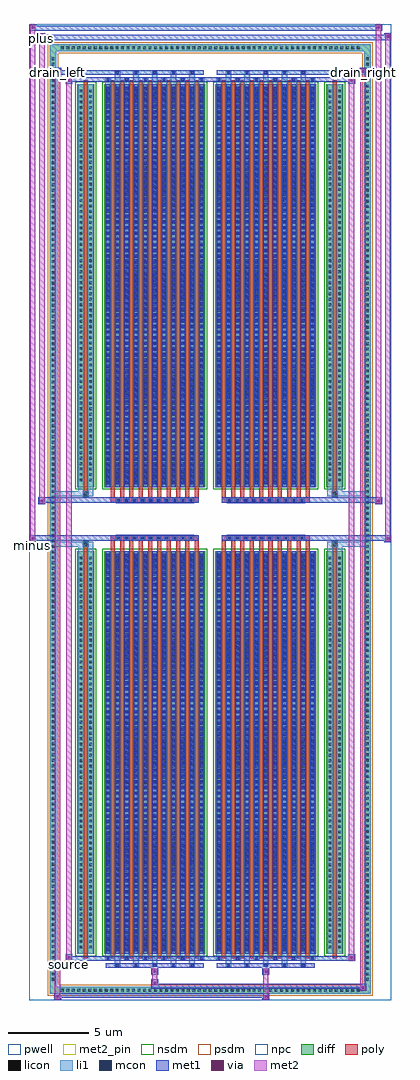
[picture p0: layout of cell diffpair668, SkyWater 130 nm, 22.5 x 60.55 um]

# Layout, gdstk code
import gdstk
lib = gdstk.Library(unit=1e-6, precision=5e-09)
def R(c, l, rs):  # rectangles x0, y0, x1, y1
    for r in rs: c.add(gdstk.rectangle(r[:2], r[2:], *l))
def A(c, l, x, y, w, h, nx, ny, dx, dy):  # array of equal rectangles
    R(c, l, [(x+i*dx, y+j*dy, x+i*dx+w, y+j*dy+h) for i in range(nx) for j in range(ny)])
def P(c, l, *ps):  # polygons
    for p in ps: c.add(gdstk.Polygon(p, *l))
pwell = (64, 44)
diff = (65, 20)
poly = (66, 20)
licon = (66, 44)
li1 = (67, 20)
mcon = (67, 44)
met1 = (68, 20)
via = (68, 44)
met2_pin = (69, 16)
met2 = (69, 20)
nsdm = (93, 44)
psdm = (94, 20)
npc = (95, 20)

diffpair668 = lib.new_cell('diffpair668')
R(diffpair668, pwell, [(-11.23,-29.84,11.23,30.71), (-8.55,-28.03,-0.01,-0.805), (0.01,-28.03,8.55,-0.805), (-8.55,0.805,-0.01,28.03), (0.01,0.805,8.55,28.03)])
A(diffpair668, diff, -9.385, -29.44, 0.41, 0.41, 55, 2, 0.34, 58.47)
A(diffpair668, diff, -9.96, -28.765, 0.41, 0.41, 1, 169, 0, 0.34)
A(diffpair668, diff, 9.55, -28.765, 0.41, 0.41, 1, 169, 0, 0.34)
R(diffpair668, diff, [(-9.385,-29.44,9.385,-29.03), (-9.96,-28.765,-9.55,28.765), (9.55,-28.765,9.96,28.765), (-8.24,-26.985,-7.21,-1.985), (-6.57,-26.985,-0.32,-1.985), (0.32,-26.985,6.57,-1.985), (7.21,-26.985,8.24,-1.985), (-8.24,1.985,-7.21,26.985), (-6.57,1.985,-0.32,26.985), (0.32,1.985,6.57,26.985), (7.21,1.985,8.24,26.985), (-9.385,29.03,9.385,29.44)])
P(diffpair668, diff, [(9.96,29.44),(-9.96,29.44),(-9.96,-29.03),(-9.55,-29.03),(-9.55,29.03),(9.55,29.03),(9.55,-29.03),(-9.55,-29.03),(-9.96,-29.03),(-9.96,-29.44),(9.96,-29.44)])
A(diffpair668, poly, -6.18, -27.235, 0.25, 25.5, 10, 2, 0.58, 28.97)
A(diffpair668, poly, 0.71, -27.235, 0.25, 25.5, 10, 2, 0.58, 28.97)
A(diffpair668, poly, -6.18, -1.735, 0.25, 0.4, 10, 2, 0.58, 3.07)
A(diffpair668, poly, 0.71, -1.735, 0.25, 0.4, 10, 2, 0.58, 3.07)
A(diffpair668, poly, -5.86, -1.335, 0.33, 0.33, 10, 2, 0.5, 2.34)
A(diffpair668, poly, 1.03, -1.335, 0.33, 0.33, 10, 2, 0.5, 2.34)
R(diffpair668, poly, [(-7.85,-27.235,-7.6,-1.735), (7.6,-27.235,7.85,-1.735), (-7.89,-1.735,-7.56,-1.405), (-7.89,-1.735,-7.56,-1.405), (7.56,-1.735,7.89,-1.405), (7.56,-1.735,7.89,-1.405), (-6.18,-1.335,-0.71,-1.005), (0.71,-1.335,6.18,-1.005), (-6.18,1.005,-0.71,1.335), (0.71,1.005,6.18,1.335), (-7.89,1.405,-7.56,1.735), (-7.89,1.405,-7.56,1.735), (7.56,1.405,7.89,1.735), (7.56,1.405,7.89,1.735), (-7.85,1.735,-7.6,27.235), (7.6,1.735,7.85,27.235)])
A(diffpair668, licon, -9.265, -29.32, 0.17, 0.17, 55, 2, 0.34, 58.47)
A(diffpair668, licon, -9.84, -28.645, 0.17, 0.17, 1, 169, 0, 0.34)
A(diffpair668, licon, 9.67, -28.645, 0.17, 0.17, 1, 169, 0, 0.34)
A(diffpair668, licon, -8.1, -26.64, 0.17, 0.17, 1, 72, 0, 0.34)
A(diffpair668, licon, -7.52, -26.64, 0.17, 0.17, 1, 72, 0, 0.34)
A(diffpair668, licon, -6.43, -26.64, 0.17, 0.17, 11, 72, 0.58, 0.34)
A(diffpair668, licon, 0.46, -26.64, 0.17, 0.17, 11, 72, 0.58, 0.34)
A(diffpair668, licon, 7.35, -26.64, 0.17, 0.17, 1, 72, 0, 0.34)
A(diffpair668, licon, 7.93, -26.64, 0.17, 0.17, 1, 72, 0, 0.34)
A(diffpair668, licon, -5.78, -1.255, 0.17, 0.17, 10, 2, 0.5, 2.34)
A(diffpair668, licon, 1.11, -1.255, 0.17, 0.17, 10, 2, 0.5, 2.34)
A(diffpair668, licon, -8.1, 2.33, 0.17, 0.17, 1, 72, 0, 0.34)
A(diffpair668, licon, -7.52, 2.33, 0.17, 0.17, 1, 72, 0, 0.34)
A(diffpair668, licon, -6.43, 2.33, 0.17, 0.17, 11, 72, 0.58, 0.34)
A(diffpair668, licon, 0.46, 2.33, 0.17, 0.17, 11, 72, 0.58, 0.34)
A(diffpair668, licon, 7.35, 2.33, 0.17, 0.17, 1, 72, 0, 0.34)
A(diffpair668, licon, 7.93, 2.33, 0.17, 0.17, 1, 72, 0, 0.34)
R(diffpair668, licon, [(-7.81,-1.655,-7.64,-1.485), (7.64,-1.655,7.81,-1.485), (-7.81,1.485,-7.64,1.655), (7.64,1.485,7.81,1.655)])
A(diffpair668, li1, -9.345, -29.4, 0.33, 0.33, 55, 2, 0.34, 58.47)
A(diffpair668, li1, -9.92, -28.725, 0.33, 0.33, 1, 169, 0, 0.34)
A(diffpair668, li1, 9.59, -28.725, 0.33, 0.33, 1, 169, 0, 0.34)
A(diffpair668, li1, -5.93, -27.79, 0.33, 0.805, 5, 2, 1.16, 54.775)
A(diffpair668, li1, -5.85, -27.79, 0.17, 0.17, 5, 2, 1.16, 55.41)
A(diffpair668, li1, 0.96, -27.79, 0.33, 0.805, 5, 2, 1.16, 54.775)
A(diffpair668, li1, 1.04, -27.79, 0.17, 0.17, 5, 2, 1.16, 55.41)
A(diffpair668, li1, -6.51, -27.36, 0.33, 0.375, 6, 2, 1.16, 54.345)
A(diffpair668, li1, -6.43, -27.36, 0.17, 0.17, 6, 2, 1.16, 54.55)
A(diffpair668, li1, 0.38, -27.36, 0.33, 0.375, 6, 2, 1.16, 54.345)
A(diffpair668, li1, 0.46, -27.36, 0.17, 0.17, 6, 2, 1.16, 54.55)
A(diffpair668, li1, -6.51, -26.985, 0.33, 25, 11, 2, 0.58, 28.97)
A(diffpair668, li1, 0.38, -26.985, 0.33, 25, 11, 2, 0.58, 28.97)
A(diffpair668, li1, -6.43, -26.81, 0.17, 0.17, 11, 69, 0.58, 0.36)
A(diffpair668, li1, -6.43, -26.81, 0.17, 24.65, 11, 2, 0.58, 28.97)
A(diffpair668, li1, 0.46, -26.81, 0.17, 0.17, 11, 69, 0.58, 0.36)
A(diffpair668, li1, 0.46, -26.81, 0.17, 24.65, 11, 2, 0.58, 28.97)
A(diffpair668, li1, -8.18, -26.72, 0.33, 0.33, 1, 72, 0, 0.34)
A(diffpair668, li1, -7.6, -26.72, 0.33, 0.33, 1, 72, 0, 0.34)
A(diffpair668, li1, -6.51, -26.72, 0.33, 0.33, 11, 72, 0.58, 0.34)
A(diffpair668, li1, 0.38, -26.72, 0.33, 0.33, 11, 72, 0.58, 0.34)
A(diffpair668, li1, 7.27, -26.72, 0.33, 0.33, 1, 72, 0, 0.34)
A(diffpair668, li1, 7.85, -26.72, 0.33, 0.33, 1, 72, 0, 0.34)
A(diffpair668, li1, -5.86, -1.335, 0.33, 0.33, 10, 2, 0.5, 2.34)
A(diffpair668, li1, 1.03, -1.335, 0.33, 0.33, 10, 2, 0.5, 2.34)
A(diffpair668, li1, -6.43, 2.16, 0.17, 0.17, 11, 69, 0.58, 0.36)
A(diffpair668, li1, 0.46, 2.16, 0.17, 0.17, 11, 69, 0.58, 0.36)
A(diffpair668, li1, -8.18, 2.25, 0.33, 0.33, 1, 72, 0, 0.34)
A(diffpair668, li1, -7.6, 2.25, 0.33, 0.33, 1, 72, 0, 0.34)
A(diffpair668, li1, -6.51, 2.25, 0.33, 0.33, 11, 72, 0.58, 0.34)
A(diffpair668, li1, 0.38, 2.25, 0.33, 0.33, 11, 72, 0.58, 0.34)
A(diffpair668, li1, 7.27, 2.25, 0.33, 0.33, 1, 72, 0, 0.34)
A(diffpair668, li1, 7.85, 2.25, 0.33, 0.33, 1, 72, 0, 0.34)
R(diffpair668, li1, [(-9.96,-29.44,-9.55,-29.03), (-9.96,-29.44,-9.55,-29.03), (-9.55,-29.44,9.55,-29.03), (9.55,-29.44,9.96,-29.03), (9.55,-29.44,9.96,-29.03), (-9.96,-29.03,-9.55,29.03), (9.55,-29.03,9.96,29.03), (-8.18,-26.985,-7.85,-1.985), (-7.6,-26.985,-7.27,-1.985), (7.27,-26.985,7.6,-1.985), (7.85,-26.985,8.18,-1.985), (-8.18,-1.985,-7.85,-1.405), (-7.6,-1.985,-7.27,-1.405), (7.27,-1.985,7.6,-1.405), (7.85,-1.985,8.18,-1.405), (-9.96,-1.735,-7.89,-1.405), (-8.18,-1.735,-7.89,-1.405), (-7.89,-1.735,-7.56,-1.405), (-7.56,-1.735,-7.27,-1.405), (7.27,-1.735,7.56,-1.405), (7.56,-1.735,7.89,-1.405), (7.56,-1.735,9.96,-1.405), (7.89,-1.735,8.18,-1.405), (-9.96,1.405,-7.89,1.735), (-8.18,1.405,-7.89,1.735), (-8.18,1.405,-7.85,1.985), (-7.89,1.405,-7.56,1.735), (-7.6,1.405,-7.27,1.985), (-7.56,1.405,-7.27,1.735), (7.27,1.405,7.56,1.735), (7.27,1.405,7.6,1.985), (7.56,1.405,7.89,1.735), (7.56,1.405,9.96,1.735), (7.85,1.405,8.18,1.985), (7.89,1.405,8.18,1.735), (-8.18,1.985,-7.85,26.985), (-7.6,1.985,-7.27,26.985), (7.27,1.985,7.6,26.985), (7.85,1.985,8.18,26.985), (-9.96,29.03,-9.55,29.44), (-9.96,29.03,-9.55,29.44), (-9.55,29.03,9.55,29.44), (9.55,29.03,9.96,29.44), (9.55,29.03,9.96,29.44)])
A(diffpair668, mcon, -5.85, -27.79, 0.17, 0.17, 5, 2, 1.16, 55.41)
A(diffpair668, mcon, 1.04, -27.79, 0.17, 0.17, 5, 2, 1.16, 55.41)
A(diffpair668, mcon, -6.43, -27.36, 0.17, 0.17, 6, 2, 1.16, 54.55)
A(diffpair668, mcon, 0.46, -27.36, 0.17, 0.17, 6, 2, 1.16, 54.55)
A(diffpair668, mcon, -6.43, -26.81, 0.17, 0.17, 11, 69, 0.58, 0.36)
A(diffpair668, mcon, 0.46, -26.81, 0.17, 0.17, 11, 69, 0.58, 0.36)
A(diffpair668, mcon, -5.78, -1.255, 0.17, 0.17, 10, 2, 0.5, 2.34)
A(diffpair668, mcon, 1.11, -1.255, 0.17, 0.17, 10, 2, 0.5, 2.34)
A(diffpair668, mcon, -6.43, 2.16, 0.17, 0.17, 11, 69, 0.58, 0.36)
A(diffpair668, mcon, 0.46, 2.16, 0.17, 0.17, 11, 69, 0.58, 0.36)
A(diffpair668, met1, -5.91, -27.85, 0.29, 0.29, 5, 2, 1.16, 55.41)
A(diffpair668, met1, 0.98, -27.85, 0.29, 0.29, 5, 2, 1.16, 55.41)
A(diffpair668, met1, -6.49, -27.42, 0.29, 0.29, 6, 2, 1.16, 54.55)
A(diffpair668, met1, 0.4, -27.42, 0.29, 0.29, 6, 2, 1.16, 54.55)
A(diffpair668, met1, -6.49, -26.985, 0.29, 25, 11, 2, 0.58, 28.97)
A(diffpair668, met1, 0.4, -26.985, 0.29, 25, 11, 2, 0.58, 28.97)
A(diffpair668, met1, -6.49, -26.87, 0.29, 0.29, 11, 69, 0.58, 0.36)
A(diffpair668, met1, 0.4, -26.87, 0.29, 0.29, 11, 69, 0.58, 0.36)
A(diffpair668, met1, -5.84, -1.315, 0.29, 0.29, 10, 2, 0.5, 2.34)
A(diffpair668, met1, 1.05, -1.315, 0.29, 0.29, 10, 2, 0.5, 2.34)
A(diffpair668, met1, -6.49, 2.1, 0.29, 0.29, 11, 69, 0.58, 0.36)
A(diffpair668, met1, 0.4, 2.1, 0.29, 0.29, 11, 69, 0.58, 0.36)
R(diffpair668, met1, [(-9.69,-29.84,-9.26,-29.41), (3.23,-29.84,3.66,-29.41), (-9.69,-29.7,3.66,-29.41), (9.26,-29.27,9.69,-28.84), (-3.66,-29.13,9.69,-28.84), (-3.66,-28.99,-3.23,-28.56), (-3.66,-28.28,-3.23,-27.85), (3.23,-28.28,3.66,-27.85), (-6.49,-27.85,-0.4,-27.56), (0.4,-27.85,6.49,-27.56), (-8.98,-27.42,-8.55,-26.99), (-8.98,-27.42,-6.49,-27.13), (-6.49,-27.42,-0.4,-27.13), (-0.4,-27.42,0.4,-27.13), (0.4,-27.42,6.49,-27.13), (6.49,-27.42,8.98,-27.13), (8.55,-27.42,8.98,-26.99), (-11.23,-1.435,-10.8,-1.005), (10.8,-1.435,11.23,-1.005), (-11.23,-1.335,-0.71,-1.005), (-6.18,-1.335,-0.71,-1.005), (0.71,-1.335,6.18,-1.005), (0.71,-1.335,11.23,-1.005), (-10.66,0.905,-10.23,1.335), (10.23,0.905,10.66,1.335), (-10.66,1.005,-6.18,1.335), (-6.18,1.005,-0.71,1.335), (0.71,1.005,6.18,1.335), (6.18,1.005,10.66,1.335), (-8.98,26.99,-8.55,27.42), (8.55,26.99,8.98,27.42), (-8.98,27.13,-6.49,27.42), (-6.49,27.13,-0.4,27.42), (-0.4,27.13,0.4,27.42), (0.4,27.13,6.49,27.42), (6.49,27.13,8.98,27.42), (-9.69,27.56,-9.26,27.99), (-9.69,27.56,-6.49,27.85), (-6.49,27.56,-0.4,27.85), (0.4,27.56,6.49,27.85), (6.49,27.56,9.69,27.85), (9.26,27.56,9.69,27.99), (-10.66,29.71,-10.23,30.14), (-10.66,29.71,-8.55,30.04), (-8.55,29.71,8.55,30.04), (8.55,29.71,11.23,30.04), (10.8,29.71,11.23,30.14), (-11.23,30.28,-10.8,30.71), (-11.23,30.28,-8.55,30.61), (-8.55,30.28,8.55,30.61), (8.55,30.28,10.66,30.61), (10.23,30.28,10.66,30.71)])
R(diffpair668, via, [(-9.55,-29.7,-9.4,-29.55), (3.37,-29.7,3.52,-29.55), (9.4,-29.13,9.55,-28.98), (-3.52,-28.85,-3.37,-28.7), (-3.52,-28.14,-3.37,-27.99), (3.37,-28.14,3.52,-27.99), (-8.84,-27.28,-8.69,-27.13), (8.69,-27.28,8.84,-27.13), (-11.09,-1.295,-10.94,-1.145), (10.94,-1.295,11.09,-1.145), (-10.52,1.045,-10.37,1.195), (10.37,1.045,10.52,1.195), (-8.84,27.13,-8.69,27.28), (8.69,27.13,8.84,27.28), (-9.55,27.7,-9.4,27.85), (9.4,27.7,9.55,27.85), (-10.52,29.85,-10.37,30), (10.94,29.85,11.09,30), (-11.09,30.42,-10.94,30.57), (10.37,30.42,10.52,30.57)])
R(diffpair668, met2_pin, [(-9.015,-27.87,-8.515,-27.37), (-11.265,-1.885,-10.765,-1.385), (-9.725,27.44,-9.225,27.94), (9.225,27.44,9.725,27.94), (-10.695,29.59,-10.195,30.09)])
R(diffpair668, met2, [(-9.64,-29.79,-9.31,-29.46), (-9.64,-29.79,-9.31,27.94), (3.28,-29.79,3.61,-29.46), (3.28,-29.46,3.61,-28.23), (9.31,-29.22,9.64,-28.89), (9.31,-29.22,9.64,27.94), (-3.61,-28.94,-3.28,-28.61), (-3.61,-28.61,-3.28,-28.23), (-3.61,-28.23,-3.28,-27.9), (3.28,-28.23,3.61,-27.9), (-8.93,-27.37,-8.6,-27.04), (-8.93,-27.37,-8.6,27.37), (8.6,-27.37,8.93,-27.04), (8.6,-27.37,8.93,27.37), (-11.18,-1.385,-10.85,-1.055), (-11.18,-1.385,-10.85,30.66), (10.85,-1.385,11.18,-1.055), (10.85,-1.385,11.18,30.09), (-10.61,0.955,-10.28,1.285), (-10.61,0.955,-10.28,30.09), (10.28,0.955,10.61,1.285), (10.28,0.955,10.61,30.66), (-8.93,27.04,-8.6,27.37), (8.6,27.04,8.93,27.37), (-9.64,27.61,-9.31,27.94), (9.31,27.61,9.64,27.94), (-10.61,29.76,-10.28,30.09), (10.85,29.76,11.18,30.09), (-11.18,30.33,-10.85,30.66), (10.28,30.33,10.61,30.66)])
P(diffpair668, met2, [(11.18,-1.385),(11.18,-1.385),(11.18,-1.055),(11.18,-1.055)],
  [(11.18,29.76),(11.18,29.76),(11.18,30.09),(11.18,30.09)],
  [(-10.85,-1.385),(-10.85,-1.385),(-10.85,-1.055),(-10.85,-1.055)],
  [(-10.85,30.33),(-10.85,30.33),(-10.85,30.66),(-10.85,30.66)],
  [(10.61,0.955),(10.61,0.955),(10.61,1.285),(10.61,1.285)],
  [(10.61,30.33),(10.61,30.33),(10.61,30.66),(10.61,30.66)],
  [(-10.28,0.955),(-10.28,0.955),(-10.28,1.285),(-10.28,1.285)],
  [(-10.28,29.76),(-10.28,29.76),(-10.28,30.09),(-10.28,30.09)],
  [(-9.31,-29.79),(-9.31,-29.79),(-9.31,-29.46),(-9.31,-29.46)],
  [(-9.31,27.61),(-9.31,27.61),(-9.31,27.94),(-9.31,27.94)],
  [(9.64,-29.22),(9.64,-29.22),(9.64,-28.89),(9.64,-28.89)],
  [(9.64,27.61),(9.64,27.61),(9.64,27.94),(9.64,27.94)],
  [(-8.6,-27.37),(-8.6,-27.37),(-8.6,-27.04),(-8.6,-27.04)],
  [(-8.6,27.04),(-8.6,27.04),(-8.6,27.37),(-8.6,27.37)],
  [(8.93,-27.37),(8.93,-27.37),(8.93,-27.04),(8.93,-27.04)],
  [(8.93,27.04),(8.93,27.04),(8.93,27.37),(8.93,27.37)])
R(diffpair668, nsdm, [(-8.37,-27.115,-7.08,-1.855), (-6.7,-27.115,-0.19,-1.855), (0.19,-27.115,6.7,-1.855), (7.08,-27.115,8.37,-1.855), (-8.37,1.855,-7.08,27.115), (-6.7,1.855,-0.19,27.115), (0.19,1.855,6.7,27.115), (7.08,1.855,8.37,27.115)])
P(diffpair668, psdm, [(10.09,29.57),(-10.09,29.57),(-10.09,-28.9),(-9.42,-28.9),(-9.42,28.9),(9.42,28.9),(9.42,-28.9),(-9.42,-28.9),(-10.09,-28.9),(-10.09,-29.57),(10.09,-29.57)])
A(diffpair668, npc, -5.88, -1.355, 0.37, 0.37, 10, 2, 0.5, 2.34)
A(diffpair668, npc, 1.01, -1.355, 0.37, 0.37, 10, 2, 0.5, 2.34)
R(diffpair668, npc, [(-7.91,-1.755,-7.54,-1.385), (7.54,-1.755,7.91,-1.385), (-5.88,-1.355,-5.01,-0.985), (-5.88,-1.355,-5.01,-0.985), (-5.38,-1.355,-4.51,-0.985), (-5.38,-1.355,-4.51,-0.985), (-4.88,-1.355,-4.01,-0.985), (-4.88,-1.355,-4.01,-0.985), (-4.38,-1.355,-3.51,-0.985), (-4.38,-1.355,-3.51,-0.985), (-3.88,-1.355,-3.01,-0.985), (-3.88,-1.355,-3.01,-0.985), (-3.38,-1.355,-2.51,-0.985), (-3.38,-1.355,-2.51,-0.985), (-2.88,-1.355,-2.01,-0.985), (-2.88,-1.355,-2.01,-0.985), (-2.38,-1.355,-1.51,-0.985), (-2.38,-1.355,-1.51,-0.985), (-1.88,-1.355,-1.01,-0.985), (-1.88,-1.355,-1.01,-0.985), (1.01,-1.355,1.88,-0.985), (1.01,-1.355,1.88,-0.985), (1.51,-1.355,2.38,-0.985), (1.51,-1.355,2.38,-0.985), (2.01,-1.355,2.88,-0.985), (2.01,-1.355,2.88,-0.985), (2.51,-1.355,3.38,-0.985), (2.51,-1.355,3.38,-0.985), (3.01,-1.355,3.88,-0.985), (3.01,-1.355,3.88,-0.985), (3.51,-1.355,4.38,-0.985), (3.51,-1.355,4.38,-0.985), (4.01,-1.355,4.88,-0.985), (4.01,-1.355,4.88,-0.985), (4.51,-1.355,5.38,-0.985), (4.51,-1.355,5.38,-0.985), (5.01,-1.355,5.88,-0.985), (5.01,-1.355,5.88,-0.985), (-5.88,0.985,-5.01,1.355), (-5.88,0.985,-5.01,1.355), (-5.38,0.985,-4.51,1.355), (-5.38,0.985,-4.51,1.355), (-4.88,0.985,-4.01,1.355), (-4.88,0.985,-4.01,1.355), (-4.38,0.985,-3.51,1.355), (-4.38,0.985,-3.51,1.355), (-3.88,0.985,-3.01,1.355), (-3.88,0.985,-3.01,1.355), (-3.38,0.985,-2.51,1.355), (-3.38,0.985,-2.51,1.355), (-2.88,0.985,-2.01,1.355), (-2.88,0.985,-2.01,1.355), (-2.38,0.985,-1.51,1.355), (-2.38,0.985,-1.51,1.355), (-1.88,0.985,-1.01,1.355), (-1.88,0.985,-1.01,1.355), (1.01,0.985,1.88,1.355), (1.01,0.985,1.88,1.355), (1.51,0.985,2.38,1.355), (1.51,0.985,2.38,1.355), (2.01,0.985,2.88,1.355), (2.01,0.985,2.88,1.355), (2.51,0.985,3.38,1.355), (2.51,0.985,3.38,1.355), (3.01,0.985,3.88,1.355), (3.01,0.985,3.88,1.355), (3.51,0.985,4.38,1.355), (3.51,0.985,4.38,1.355), (4.01,0.985,4.88,1.355), (4.01,0.985,4.88,1.355), (4.51,0.985,5.38,1.355), (4.51,0.985,5.38,1.355), (5.01,0.985,5.88,1.355), (5.01,0.985,5.88,1.355), (-7.91,1.385,-7.54,1.755), (7.54,1.385,7.91,1.755)])
diffpair668.add(gdstk.Label('minus', (-11.015,-1.635), layer=69, texttype=5))
diffpair668.add(gdstk.Label('drain_right', (9.475,27.69), layer=69, texttype=5))
diffpair668.add(gdstk.Label('drain_left', (-9.475,27.69), layer=69, texttype=5))
diffpair668.add(gdstk.Label('source', (-8.765,-27.62), layer=69, texttype=5))
diffpair668.add(gdstk.Label('plus', (-10.445,29.84), layer=69, texttype=5))

lib.write_gds('diffpair668.gds')
